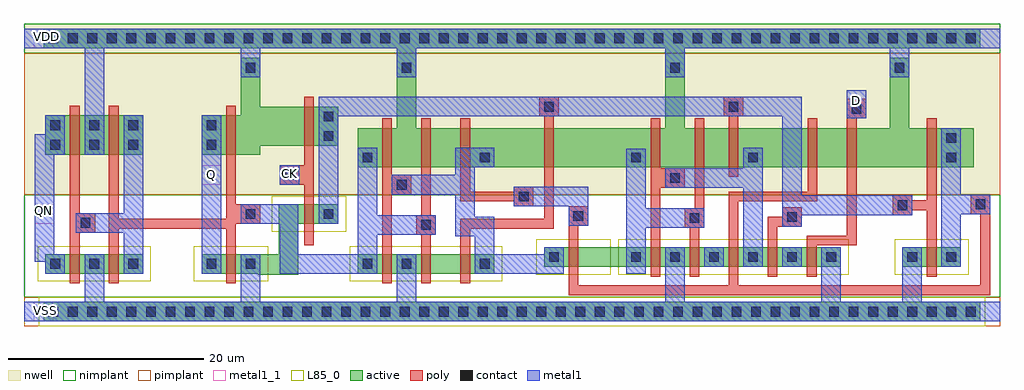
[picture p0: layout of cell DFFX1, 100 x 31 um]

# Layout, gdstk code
from math import pi, radians
import gdstk
lib = gdstk.Library(unit=1e-6, precision=5e-10)
def R(c, l, rs):  # rectangles x0, y0, x1, y1
    for r in rs: c.add(gdstk.rectangle(r[:2], r[2:], *l))
def A(c, l, x, y, w, h, nx, ny, dx, dy):  # array of equal rectangles
    R(c, l, [(x+i*dx, y+j*dy, x+i*dx+w, y+j*dy+h) for i in range(nx) for j in range(ny)])
active = (1, 0)
nwell = (2, 0)
poly = (3, 0)
nimplant = (4, 0)
pimplant = (5, 0)
contact = (6, 0)
metal1 = (7, 0)
metal1_1 = (7, 1)
L85_0 = (85, 0)

pmos4_cdns_5 = lib.new_cell('pmos4_CDNS_5')
R(pmos4_cdns_5, active, [(1,1,7,5)])
R(pmos4_cdns_5, nwell, [(0.2,0.2,7.8,5.8)])
R(pmos4_cdns_5, poly, [(3.5,0,4.5,6), (3.6,5.5,4.4,5.9)])
R(pmos4_cdns_5, pimplant, [(0,0,8,6)])
R(pmos4_cdns_5, contact, [(1.5,1.5,2.5,2.5), (5.5,1.5,6.5,2.5), (1.5,3.5,2.5,4.5), (5.5,3.5,6.5,4.5)])
R(pmos4_cdns_5, metal1, [(1,1,3,5), (5,1,7,5), (1.3,1.3,2.7,2.7), (5.3,1.3,6.7,2.7)])

nmos4_cdns_6 = lib.new_cell('nmos4_CDNS_6')
R(nmos4_cdns_6, active, [(1,1,7,3)])
R(nmos4_cdns_6, poly, [(3.5,0,4.5,4), (3.6,3.4,4.4,3.9)])
R(nmos4_cdns_6, nimplant, [(0,0,8,4)])
R(nmos4_cdns_6, contact, [(1.5,1.5,2.5,2.5), (5.5,1.5,6.5,2.5)])
R(nmos4_cdns_6, metal1, [(1,1,3,3), (5,1,7,3), (1.3,1.3,2.7,2.7), (5.3,1.3,6.7,2.7)])
R(nmos4_cdns_6, L85_0, [(0.2,0.2,7.8,3.8)])

m1_po_cdns_1 = lib.new_cell('M1_PO_CDNS_1')
R(m1_po_cdns_1, poly, [(-1,-1,1,1)])
R(m1_po_cdns_1, contact, [(-0.5,-0.5,0.5,0.5)])
R(m1_po_cdns_1, metal1, [(-1,-1,1,1)])

m1_nwell_cdns_2 = lib.new_cell('M1_NWELL_CDNS_2')
R(m1_nwell_cdns_2, active, [(-48,-1,48,1)])
R(m1_nwell_cdns_2, nwell, [(-48.5,-1.5,48.5,1.5)])
R(m1_nwell_cdns_2, nimplant, [(-48.5,-1.5,48.5,1.5)])
A(m1_nwell_cdns_2, contact, -47.5, -0.5, 1, 1, 48, 1, 2, 0)
R(m1_nwell_cdns_2, metal1, [(-48,-1,48,1)])

m1_pimp_cdns_3 = lib.new_cell('M1_PIMP_CDNS_3')
R(m1_pimp_cdns_3, active, [(-1,-1,1,1)])
R(m1_pimp_cdns_3, pimplant, [(-1.5,-1.5,1.5,1.5)])
R(m1_pimp_cdns_3, contact, [(-0.5,-0.5,0.5,0.5)])
R(m1_pimp_cdns_3, metal1, [(-1,-1,1,1)])

m1_psub_cdns_4 = lib.new_cell('M1_PSUB_CDNS_4')
R(m1_psub_cdns_4, active, [(-48,-1,48,1)])
R(m1_psub_cdns_4, pimplant, [(-48.5,-1.5,48.5,1.5)])
A(m1_psub_cdns_4, contact, -47.5, -0.5, 1, 1, 48, 1, 2, 0)
R(m1_psub_cdns_4, metal1, [(-48,-1,48,1)])
R(m1_psub_cdns_4, L85_0, [(-48.5,-1.5,48.5,1.5)])

dffx1 = lib.new_cell('DFFX1')
R(dffx1, active, [(24,3.8,28.1,5.9), (38.2,3.9,44.2,5.9), (42.2,3.9,48.2,5.9), (53.3,4.6,59.3,6.6), (59.1,4.6,62.8,6.6), (26.1,5.3,28.1,9.4), (26.1,9,32.2,11), (34.2,14.8,40.2,18.8), (39.9,14.8,48.6,18.8), (42.2,14.8,48.2,18.8), (48.3,14.8,62.8,18.8), (61.7,14.8,67.7,18.8), (66.2,14.8,72.2,18.8), (69.7,14.8,75.7,18.8), (73.6,14.8,83.8,18.8), (81.8,14.8,87.8,18.8), (87.4,14.8,97.3,18.8), (18.2,16.1,24.2,20.1), (38.2,16.4,40.2,27.5), (65.7,16.4,67.7,27.5), (22.2,17,32.2,21), (88.7,17.7,90.7,24.7), (22.2,19.7,24.2,24.1)])
R(dffx1, nwell, [(0,12,100,29.5), (33.4,14,41,19.6), (41.4,14,49,19.6), (41.8,14,49.4,19.6), (50,14,57.6,19.6), (60.9,14,68.5,19.6), (65.4,14,73,19.6), (68.9,14,76.5,19.6), (77,14,84.6,19.6), (81,14,88.6,19.6), (89.2,14,96.8,19.6), (17.4,15.3,25,20.9), (25.4,16.2,33,21.8)])
A(dffx1, poly, 36.7, 13.8, 1, 6, 3, 1, 4, 0)
A(dffx1, poly, 36.8, 19.3, 0.8, 0.4, 3, 1, 4, 0)
R(dffx1, poly, [(40.7,2.9,41.7,6.9), (44.7,2.9,45.7,6.9), (55.8,3.6,56.8,7.6), (40.8,6.3,41.6,6.8), (44.8,6.3,45.6,6.8), (55.9,7,56.7,7.5), (28.7,8,29.7,12), (21.4,9,22.6,11), (28.8,11.4,29.6,11.9), (65,12.7,66,14.7), (27.7,13,29.3,15), (53.3,13.8,54.3,19.8), (64.2,13.8,65.2,19.8), (68.7,13.8,69.7,19.8), (72.2,13.8,73.2,19.8), (80.3,13.8,81.3,19.8), (84.3,13.8,85.3,19.8), (92.5,13.8,93.5,19.8), (20.7,15.1,21.7,21.1), (28.7,16,29.7,22), (53.4,19.3,54.2,19.7), (64.3,19.3,65.1,19.7), (68.8,19.3,69.6,19.7), (72.3,19.3,73.1,19.7), (80.4,19.3,81.2,19.7), (84.4,19.3,85.2,19.7), (92.6,19.3,93.4,19.7), (20.8,20.6,21.6,21), (28.8,21.3,29.6,21.7)])
R(dffx1, nimplant, [(0,1.5,100,12), (37.2,2.9,45.2,6.9), (41.2,2.9,49.2,6.9), (52.3,3.6,60.3,7.6), (25.2,8,33.2,12), (0,26.5,100,29.5)])
R(dffx1, pimplant, [(0,-1.5,100,1.5), (0,12,100,26.5), (78.7,13.7,86.7,19.7), (33.2,13.8,41.2,19.8), (41.2,13.8,49.2,19.8), (41.6,13.8,49.6,19.8), (45.2,13.8,53.2,19.8), (60.7,13.8,68.7,19.8), (65.2,13.8,73.2,19.8), (68.7,13.8,76.7,19.8), (80.8,13.8,88.8,19.8), (90.3,13.8,98.3,19.8), (17.2,15.1,25.2,21.1), (25.2,16,33.2,22)])
R(dffx1, contact, [(38.7,4.4,39.7,5.4), (46.7,4.4,47.7,5.4), (53.8,5.1,54.8,6.1), (30.7,9.5,31.7,10.5), (34.7,15.3,35.7,16.3), (46.7,15.3,47.7,16.3), (46.7,15.3,47.7,16.3), (62.2,15.3,63.2,16.3), (74.2,15.3,75.2,16.3), (94.5,15.3,95.5,16.3), (18.7,16.6,19.7,17.6), (94.5,17.3,95.5,18.3), (30.7,17.5,31.7,18.5), (18.7,18.6,19.7,19.6), (30.7,19.5,31.7,20.5)])
R(dffx1, metal1, [(0,-1,100,1), (6.2,-0.7,8.2,5.6), (65.7,-0.4,67.7,5.9), (22.2,-0.3,24.2,5.8), (81.7,0.3,83.7,6.6), (90,0.7,92,6.4), (26.2,3.9,28.1,11), (38.2,3.9,40.2,5.9), (46.2,3.9,48.2,5.9), (61.7,3.9,63.7,16.7), (18.2,4.2,20.2,16.7), (38.5,4.2,39.9,5.6), (46.5,4.2,47.9,5.6), (53.3,4.6,55.3,6.6), (10.2,4.9,12.2,17.9), (34.2,4.9,36.2,15.4), (53.6,4.9,55,6.3), (1.1,5.1,3.1,18.2), (35.6,7.9,42.2,9.9), (5.8,8.1,11.1,10.1), (62.9,8.6,68.1,10.6), (77.7,8.7,79.7,20.9), (30.2,9,32.2,11), (30.2,9.2,32.2,19), (30.5,9.3,31.9,10.7), (95.6,10,99,12), (34.2,12.8,36.2,16.8), (26.2,13,28.2,15), (46.2,14.8,48.2,16.8), (73.7,14.8,75.7,16.8), (94,14.8,96,18.8), (34.5,15.1,35.9,16.5), (46.5,15.1,47.9,16.5), (46.5,15.1,47.9,16.5), (62,15.1,63.4,16.5), (74,15.1,75.4,16.5), (94.3,15.1,95.7,16.5), (18.2,16.1,20.2,20.1), (18.5,16.4,19.9,17.8), (30.2,17,32.2,21), (6.2,17.2,8.2,28.1), (30.5,17.3,31.9,18.7), (84.3,19.8,86.3,22.7), (30.2,20,79.7,22), (22.2,24,24.2,28.1), (38.2,24,40.2,28.1), (65.7,25.5,67.7,28.1), (88.7,25.5,90.7,28.1), (0,27,100,29)])
R(dffx1, metal1_1, [(1,-1,3,1), (1.1,9,3.1,11), (18.2,13,20.2,15), (26.2,13,28.2,15), (84.3,19.8,86.3,21.8), (1,27,3,29)])
R(dffx1, L85_0, [(37.4,3.1,45,6.7), (41.4,3.1,49,6.7), (52.5,3.8,60.1,7.4), (25.4,8.2,33,11.8)])
dffx1.add(gdstk.FlexPath([(95,6.3),(95,15.7)], 2, ends="flush", simple_path=True, layer=7, datatype=0))  # metal1
dffx1.add(gdstk.FlexPath([(90,10.9),(79.1,10.9)], 2, ends=(1, 0), simple_path=True, layer=7, datatype=0))  # metal1
dffx1.add(gdstk.FlexPath([(23.2,10),(27.2,10)], 2, ends="flush", simple_path=True, layer=7, datatype=0))  # metal1
dffx1.add(gdstk.FlexPath([(34.2,4.9),(26.2,4.9)], 2, ends="flush", simple_path=True, layer=7, datatype=0))  # metal1
dffx1.add(gdstk.FlexPath([(39.2,3.9),(39.2,1)], 2, ends="flush", simple_path=True, layer=7, datatype=0))  # metal1
dffx1.add(gdstk.FlexPath([(74.7,13.7),(74.7,16.8)], 2, ends=(1, 0), simple_path=True, layer=7, datatype=0))  # metal1
dffx1.add(gdstk.FlexPath([(74.7,6.6),(74.7,13.7)], 2, ends=(0, 1), simple_path=True, layer=7, datatype=0))  # metal1
dffx1.add(gdstk.FlexPath([(66.7,13.7),(74.7,13.7)], 2, ends=(0, 1), simple_path=True, layer=7, datatype=0))  # metal1
dffx1.add(gdstk.FlexPath([(56.8,11.8),(56.8,8.8)], 2, ends=(1, 0), simple_path=True, layer=7, datatype=0))  # metal1
dffx1.add(gdstk.FlexPath([(51.2,11.8),(56.8,11.8)], 2, ends=(0, 1), simple_path=True, layer=7, datatype=0))  # metal1
dffx1.add(gdstk.FlexPath([(55.3,4.9),(47.2,4.9)], 2, ends=(0, 1), simple_path=True, layer=7, datatype=0))  # metal1
dffx1.add(gdstk.FlexPath([(47.2,8.7),(45.2,8.7)], 2, ends="extended", simple_path=True, layer=7, datatype=0))  # metal1
dffx1.add(gdstk.FlexPath([(47.2,4.9),(47.2,8.7)], 2, ends="extended", simple_path=True, layer=7, datatype=0))  # metal1
dffx1.add(gdstk.FlexPath([(38.7,13),(45.2,13)], 2, ends=(0, 1), simple_path=True, layer=7, datatype=0))  # metal1
dffx1.add(gdstk.FlexPath([(45.2,15.8),(48.2,15.8)], 2, ends=(1, 0), simple_path=True, layer=7, datatype=0))  # metal1
dffx1.add(gdstk.FlexPath([(45.2,13),(45.2,15.8)], 2, ends="extended", simple_path=True, layer=7, datatype=0))  # metal1
dffx1.add(gdstk.FlexPath([(45.2,8.7),(45.2,12.2)], 2, ends=(1, 0), simple_path=True, layer=7, datatype=0))  # metal1
dffx1.add(gdstk.FlexPath([(93,13.8),(93,10.9)], 1, ends=(0, 0.5), simple_path=True, layer=3, datatype=0))  # poly
dffx1.add(gdstk.FlexPath([(93,10.9),(93,7)], 1, ends=(0.5, 0), simple_path=True, layer=3, datatype=0))  # poly
dffx1.add(gdstk.FlexPath([(93,10.9),(90,10.9)], 1, ends=(0.5, 0), simple_path=True, layer=3, datatype=0))  # poly
dffx1.add(gdstk.FlexPath([(84.8,7.3),(84.8,14.3)], 1, ends=(0.5, 0), simple_path=True, layer=3, datatype=0))  # poly
dffx1.add(gdstk.FlexPath([(80.7,7.3),(84.8,7.3)], 1, ends="extended", simple_path=True, layer=3, datatype=0))  # poly
dffx1.add(gdstk.FlexPath([(80.7,7),(80.7,7.3)], 1, ends=(0, 0.5), simple_path=True, layer=3, datatype=0))  # poly
dffx1.add(gdstk.FlexPath([(78.7,9.2),(78.7,9.7)], 1, ends=(0.5, 0), simple_path=True, layer=3, datatype=0))  # poly
dffx1.add(gdstk.FlexPath([(76.7,9.2),(78.7,9.2)], 1, ends="extended", simple_path=True, layer=3, datatype=0))  # poly
dffx1.add(gdstk.FlexPath([(76.7,7.5),(76.7,9.2)], 1, ends=(0, 0.5), simple_path=True, layer=3, datatype=0))  # poly
dffx1.add(gdstk.FlexPath([(72.7,11.8),(80.8,11.8)], 1, ends="extended", simple_path=True, layer=3, datatype=0))  # poly
dffx1.add(gdstk.FlexPath([(80.8,11.8),(80.8,14.2)], 1, ends=(0.5, 0), simple_path=True, layer=3, datatype=0))  # poly
dffx1.add(gdstk.FlexPath([(72.7,7.5),(72.7,11.8)], 1, ends=(0, 0.5), simple_path=True, layer=3, datatype=0))  # poly
dffx1.add(gdstk.FlexPath([(72.7,19.8),(72.7,21)], 1, ends="flush", simple_path=True, layer=3, datatype=0))  # poly
dffx1.add(gdstk.FlexPath([(68.7,7.5),(68.7,9.6)], 1, ends=(0, 0.5), simple_path=True, layer=3, datatype=0))  # poly
dffx1.add(gdstk.FlexPath([(69.2,13.8),(69.2,9.6)], 1, ends=(0, 0.5), simple_path=True, layer=3, datatype=0))  # poly
dffx1.add(gdstk.FlexPath([(69.2,9.6),(68.7,9.6)], 1, ends="extended", simple_path=True, layer=3, datatype=0))  # poly
dffx1.add(gdstk.FlexPath([(64.7,6.8),(64.7,14.7)], 1, ends=(0.5, 0), simple_path=True, layer=3, datatype=0))  # poly
dffx1.add(gdstk.FlexPath([(53.8,19.8),(53.8,21)], 1, ends="flush", simple_path=True, layer=3, datatype=0))  # poly
dffx1.add(gdstk.FlexPath([(64.3,6.8),(64.7,6.8)], 1, ends=(0, 0.5), simple_path=True, layer=3, datatype=0))  # poly
dffx1.add(gdstk.FlexPath([(41.2,13.8),(41.2,8.9)], 1, ends="flush", simple_path=True, layer=3, datatype=0))  # poly
dffx1.add(gdstk.FlexPath([(41.2,6.9),(41.2,8.9)], 1, ends="flush", simple_path=True, layer=3, datatype=0))  # poly
dffx1.add(gdstk.FlexPath([(37.2,6.8),(37.2,14.3)], 1, ends="flush", simple_path=True, layer=3, datatype=0))  # poly
dffx1.add(gdstk.FlexPath([(29.2,6.8),(29.2,16.8)], 1, ends="flush", simple_path=True, layer=3, datatype=0))  # poly
dffx1.add(gdstk.FlexPath([(9.2,16.1),(9.2,9)], 1, ends=(0, 0.5), simple_path=True, layer=3, datatype=0))  # poly
dffx1.add(gdstk.FlexPath([(21.2,9),(9.2,9)], 1, ends="extended", simple_path=True, layer=3, datatype=0))  # poly
dffx1.add(gdstk.FlexPath([(21.2,9),(21.2,16)], 1, ends=(0.5, 0), simple_path=True, layer=3, datatype=0))  # poly
dffx1.add(gdstk.FlexPath([(5.2,16),(5.2,6.6)], 1, ends="flush", simple_path=True, layer=3, datatype=0))  # poly
dffx1.add(gdstk.FlexPath([(9.2,9),(9.2,6.3)], 1, ends=(0.5, 0), simple_path=True, layer=3, datatype=0))  # poly
dffx1.add(gdstk.FlexPath([(21.2,6.9),(21.2,9)], 1, ends=(0, 0.5), simple_path=True, layer=3, datatype=0))  # poly
dffx1.add(gdstk.FlexPath([(98.5,11.1),(97.1,11.1)], 1, ends=(0.5, 0), simple_path=True, layer=3, datatype=0))  # poly
dffx1.add(gdstk.FlexPath([(98.5,2.2),(98.5,11.1)], 1, ends="extended", simple_path=True, layer=3, datatype=0))  # poly
dffx1.add(gdstk.FlexPath([(56.3,2.2),(72.7,2.2)], 1, ends="extended", simple_path=True, layer=3, datatype=0))  # poly
dffx1.add(gdstk.FlexPath([(72.7,3.8),(72.7,2.2)], 1, ends=(0, 0.5), simple_path=True, layer=3, datatype=0))  # poly
dffx1.add(gdstk.FlexPath([(72.7,2.2),(98.5,2.2)], 1, ends="extended", simple_path=True, layer=3, datatype=0))  # poly
dffx1.add(gdstk.FlexPath([(56.3,3.6),(56.3,2.2)], 1, ends=(0, 0.5), simple_path=True, layer=3, datatype=0))  # poly
dffx1.add(gdstk.FlexPath([(56.3,8.9),(56.8,8.9)], 1, ends=(0.5, 0), simple_path=True, layer=3, datatype=0))  # poly
dffx1.add(gdstk.FlexPath([(56.3,6.8),(56.3,8.9)], 1, ends=(0, 0.5), simple_path=True, layer=3, datatype=0))  # poly
dffx1.add(gdstk.FlexPath([(45.2,6.9),(45.2,9)], 1, ends=(0, 0.5), simple_path=True, layer=3, datatype=0))  # poly
dffx1.add(gdstk.FlexPath([(53.8,9),(53.8,14.1)], 1, ends=(0.5, 0), simple_path=True, layer=3, datatype=0))  # poly
dffx1.add(gdstk.FlexPath([(45.2,9),(53.8,9)], 1, ends="extended", simple_path=True, layer=3, datatype=0))  # poly
dffx1.add(gdstk.FlexPath([(51.2,11.8),(51.2,11.7)], 1, ends=(0.5, 0), simple_path=True, layer=3, datatype=0))  # poly
dffx1.add(gdstk.FlexPath([(45.2,11.8),(51.2,11.8)], 1, ends="extended", simple_path=True, layer=3, datatype=0))  # poly
dffx1.add(gdstk.FlexPath([(45.2,14.11),(45.2,11.8)], 1, ends=(0, 0.5), simple_path=True, layer=3, datatype=0))  # poly
dffx1.add(gdstk.Reference(pmos4_cdns_5, (9.2,15.1), rotation=pi, x_reflection=True))
dffx1.add(gdstk.Reference(pmos4_cdns_5, (5.2,15.1)))
dffx1.add(gdstk.Reference(nmos4_cdns_6, (89,3.6)))
dffx1.add(gdstk.Reference(nmos4_cdns_6, (80.7,3.6), rotation=pi, x_reflection=True))
dffx1.add(gdstk.Reference(nmos4_cdns_6, (84.7,3.6), rotation=pi, x_reflection=True))
dffx1.add(gdstk.Reference(nmos4_cdns_6, (68.7,3.6)))
dffx1.add(gdstk.Reference(nmos4_cdns_6, (64.7,3.6)))
dffx1.add(gdstk.Reference(nmos4_cdns_6, (68.7,3.6), rotation=pi, x_reflection=True))
dffx1.add(gdstk.Reference(nmos4_cdns_6, (41.2,2.9), rotation=pi, x_reflection=True))
dffx1.add(gdstk.Reference(nmos4_cdns_6, (25.2,2.9), rotation=pi, x_reflection=True))
dffx1.add(gdstk.Reference(nmos4_cdns_6, (9.2,2.9), rotation=pi, x_reflection=True))
dffx1.add(gdstk.Reference(nmos4_cdns_6, (5.2,2.9)))
dffx1.add(gdstk.Reference(m1_po_cdns_1, (90,10.9)))
dffx1.add(gdstk.Reference(m1_po_cdns_1, (98,11)))
dffx1.add(gdstk.Reference(m1_po_cdns_1, (85.3,20.8)))
dffx1.add(gdstk.Reference(m1_po_cdns_1, (78.7,9.7)))
dffx1.add(gdstk.Reference(m1_po_cdns_1, (72.7,21)))
dffx1.add(gdstk.Reference(m1_po_cdns_1, (68.7,9.6)))
dffx1.add(gdstk.Reference(m1_po_cdns_1, (66.7,13.7)))
dffx1.add(gdstk.Reference(m1_po_cdns_1, (53.8,21)))
dffx1.add(gdstk.Reference(m1_po_cdns_1, (56.8,9.8)))
dffx1.add(gdstk.Reference(m1_po_cdns_1, (51.2,11.8)))
dffx1.add(gdstk.Reference(m1_po_cdns_1, (41.2,8.9)))
dffx1.add(gdstk.Reference(m1_po_cdns_1, (38.7,13)))
dffx1.add(gdstk.Reference(m1_po_cdns_1, (27.2,14)))
dffx1.add(gdstk.Reference(m1_po_cdns_1, (23.2,10)))
dffx1.add(gdstk.Reference(m1_po_cdns_1, (6.3,9.1)))
dffx1.add(gdstk.Reference(m1_nwell_cdns_2, (50,28)))
dffx1.add(gdstk.Reference(m1_pimp_cdns_3, (23.2,25)))
dffx1.add(gdstk.Reference(m1_pimp_cdns_3, (89.7,25)))
dffx1.add(gdstk.Reference(m1_pimp_cdns_3, (66.7,25)))
dffx1.add(gdstk.Reference(m1_pimp_cdns_3, (39.2,25)))
dffx1.add(gdstk.Reference(m1_psub_cdns_4, (50,0)))
dffx1.add(gdstk.Label('D', (85.3,21.6), layer=7, texttype=3))
dffx1.add(gdstk.Label('CK', (27.2,14.2), layer=7, texttype=3))
dffx1.add(gdstk.Label('VDD', (2.3,28.2), layer=7, texttype=3))
dffx1.add(gdstk.Label('VSS', (2.2,0.1), layer=7, texttype=3))
dffx1.add(gdstk.Label('Q', (19.2,14.1), layer=7, texttype=3))
dffx1.add(gdstk.Label('QN', (2,10.4), layer=7, texttype=3))

lib.write_gds('DFFX1.gds')
